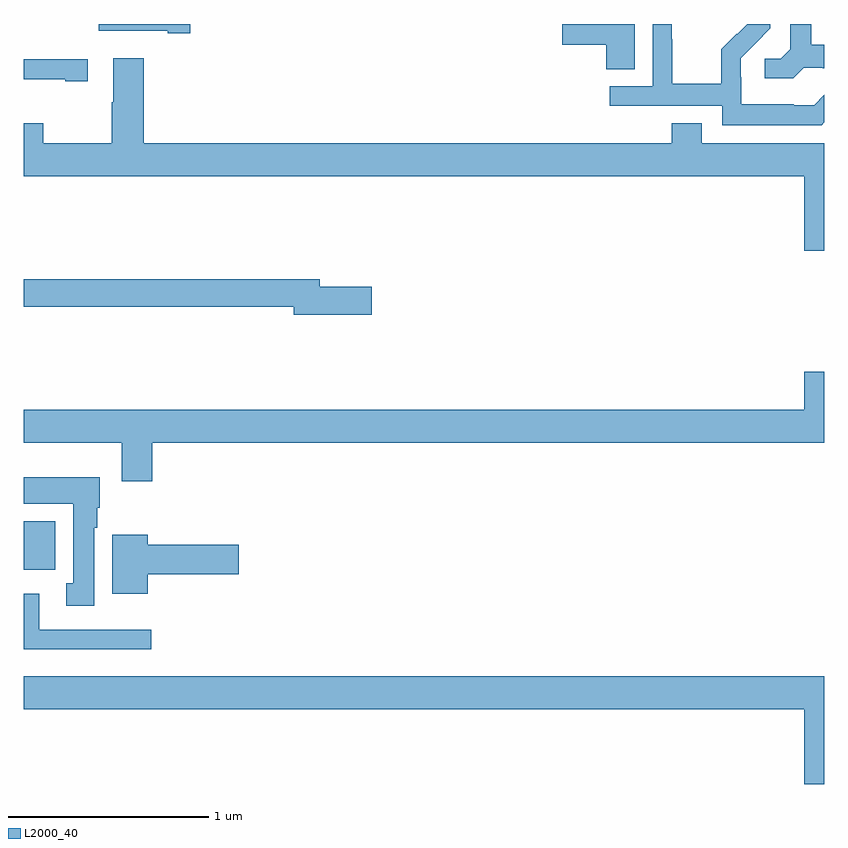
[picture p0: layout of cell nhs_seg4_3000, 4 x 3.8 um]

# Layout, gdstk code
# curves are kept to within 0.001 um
import gdstk
lib = gdstk.Library(unit=1e-6, precision=1e-09)
def R(c, l, rs):  # rectangles x0, y0, x1, y1
    for r in rs: c.add(gdstk.rectangle(r[:2], r[2:], *l))
def P(c, l, *ps):  # polygons
    for p in ps: c.add(gdstk.Polygon(p, *l))
L2000_40 = (2000, 40)

nhs_seg4_3000 = lib.new_cell('nhs_seg4_3000')
R(nhs_seg4_3000, L2000_40, [(269,808.172,269.158,808.414)])
P(nhs_seg4_3000, L2000_40, [(273,810.408),(273,810.546),(272.949,810.495),(272.849,810.495),(272.849,810.499),(272.586,810.499),(272.586,810.633),(272.584,810.633),(272.584,810.73),(272.73,810.878),(272.73,810.9),(272.616,810.9),(272.565,810.849),(272.562,810.852),(272.485,810.775),(272.485,810.601),(272.241,810.601),(272.241,810.824),(272.238,810.824),(272.238,810.9),(272.142,810.9),(272.142,810.588),(271.929,810.588),(271.929,810.492),(272.49,810.492),(272.49,810.395),(272.987,810.395)],
  [(272.898,810.681),(272.992,810.681),(272.992,810.678),(273,810.678),(273,810.797),(272.935,810.797),(272.935,810.9),(272.831,810.9),(272.831,810.773),(272.784,810.726),(272.703,810.726),(272.703,810.629),(272.846,810.629)],
  [(269.833,810.9),(269.375,810.9),(269.375,810.866),(269.72,810.866),(269.72,810.854),(269.833,810.854)],
  [(272.053,810.9),(271.692,810.9),(271.692,810.797),(271.91,810.797),(271.91,810.673),(272.053,810.673)],
  [(273,810.304),(272.389,810.304),(272.389,810.403),(272.237,810.403),(272.237,810.304),(269.6,810.304),(269.6,810.73),(269.447,810.73),(269.447,810.509),(269.44,810.509),(269.44,810.304),(269.097,810.304),(269.097,810.403),(269,810.403),(269,810.14),(272.9,810.14),(272.9,809.766),(273,809.766)],
  [(269.32,810.725),(269.044,810.725),(269.044,810.723),(269,810.723),(269,810.625),(269.207,810.625),(269.207,810.615),(269.32,810.615)],
  [(270.739,809.588),(270.478,809.588),(270.478,809.624),(269,809.624),(269,809.488),(270.35,809.488),(270.35,809.446),(270.739,809.446)],
  [(269.642,808.808),(273,808.808),(273,809.161),(272.9,809.161),(272.9,808.972),(269,808.972),(269,808.808),(269.489,808.808),(269.489,808.614),(269.642,808.614)],
  [(269.353,808.382),(269.368,808.382),(269.368,808.482),(269.38,808.482),(269.38,808.636),(269,808.636),(269,808.502),(269.246,808.502),(269.246,808.106),(269.213,808.106),(269.213,807.993),(269.353,807.993)],
  [(269.62,808.151),(270.073,808.151),(270.073,808.298),(269.62,808.298),(269.62,808.348),(269.441,808.348),(269.441,808.052),(269.62,808.052)],
  [(269.638,807.873),(269.077,807.873),(269.077,808.053),(269,808.053),(269,807.776),(269.638,807.776)],
  [(273,807.64),(269,807.64),(269,807.476),(272.9,807.476),(272.9,807.102),(273,807.102)])

lib.write_gds('nhs_seg4_3000.gds')
